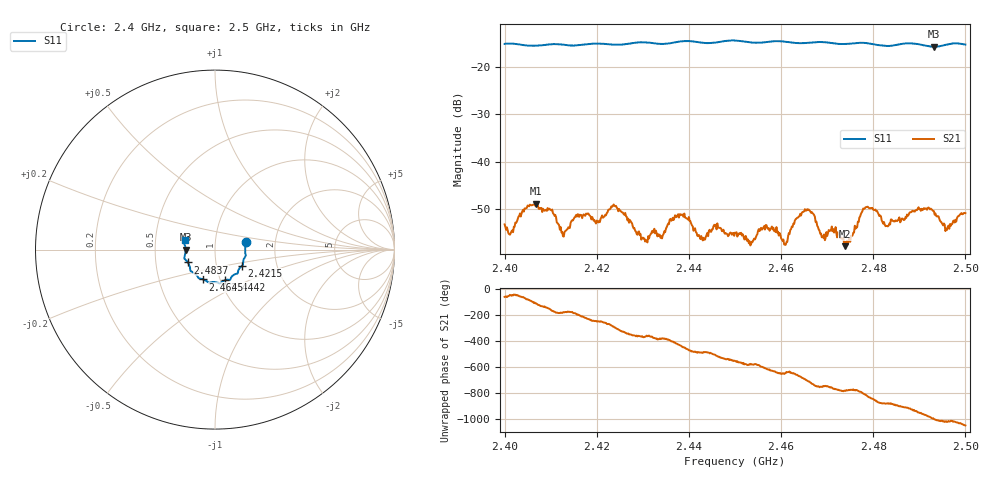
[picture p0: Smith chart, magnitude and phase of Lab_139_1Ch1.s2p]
# Hz S RI R 50
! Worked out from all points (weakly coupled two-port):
!   601 points, 2.4 GHz to 2.5 GHz, reference 50 ohm
!   highest |S21| = -48.88 dB at 2.4068 GHz (marker M1); lowest = -57.8 dB at 2.4738 GHz (marker M2)
!   lowest |S11| = -15.7 dB at 2.4932 GHz (marker M3), VSWR 1.39, Z = 35.9 - j0.0559 ohm
!   |S11| at or under -10 dB: start of sweep to end of sweep
!   S12 and S22 are empty: the file has one direction only
!   S11 on the Smith chart (normalised r, x): 2.4 GHz: 1.41, +0.12; 2.4215 GHz: 1.33, -0.25; 2.4442 GHz: 1.05, -0.37; 2.4645 GHz: 0.83, -0.29; 2.4837 GHz: 0.73, -0.11; 2.5 GHz: 0.71, +0.07
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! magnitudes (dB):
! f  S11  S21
! 2.4 GHz  -15.1  -53.3
! 2.4068 GHz  -15.5  -48.9
! 2.4128 GHz  -15.3  -55.8
! 2.4167 GHz  -15.3  -51.3
! 2.4215 GHz  -15.1  -51.7
! 2.4238 GHz  -15.3  -49.3
! 2.4302 GHz  -14.8  -56.2
! 2.4333 GHz  -15.1  -55.3
! 2.4385 GHz  -14.6  -51.2
! 2.4442 GHz  -15.0  -55.7
! 2.45 GHz  -14.4  -55.0
! 2.4608 GHz  -14.6  -57.6
! 2.4645 GHz  -15.0  -50.8
! 2.4667 GHz  -14.8  -50.6
! 2.469 GHz  -14.7  -55.8
! 2.4738 GHz  -15.1  -57.8
! 2.4783 GHz  -14.9  -49.6
! 2.4833 GHz  -15.6  -53.5
! 2.4837 GHz  -15.5  -53.3
! 2.4932 GHz  -15.7  -50.4
! 2.496 GHz  -15.3  -54.4
! 2.5 GHz  -15.3  -50.9
